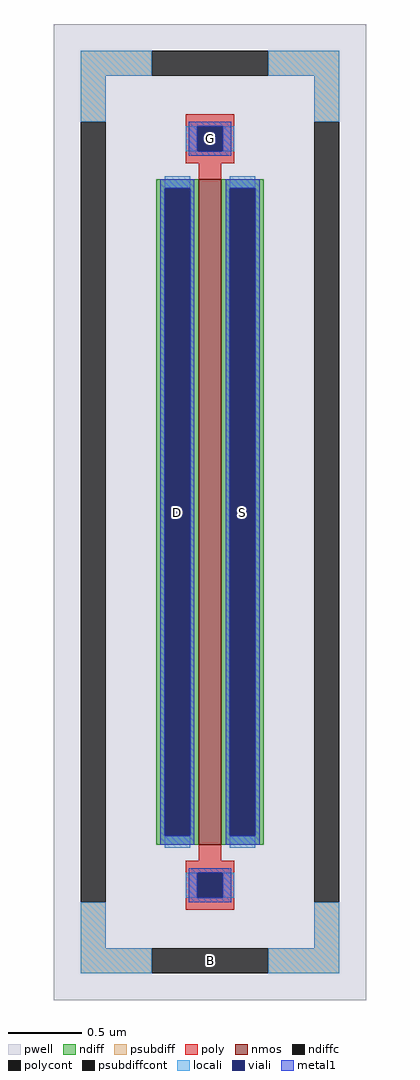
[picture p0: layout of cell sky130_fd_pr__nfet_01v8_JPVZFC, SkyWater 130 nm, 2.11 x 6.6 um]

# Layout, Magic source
magic
tech sky130A
magscale 1 2
<< pwell >>
rect -211 -660 211 660
<< nmos >>
rect -15 -450 15 450
<< ndiff >>
rect -73 438 -15 450
rect -73 -438 -61 438
rect -27 -438 -15 438
rect -73 -450 -15 -438
rect 15 438 73 450
rect 15 -438 27 438
rect 61 -438 73 438
rect 15 -450 73 -438
<< ndiffc >>
rect -61 -438 -27 438
rect 27 -438 61 438
<< psubdiff >>
rect -175 590 -79 624
rect 79 590 175 624
rect -175 528 -141 590
rect 141 528 175 590
rect -175 -590 -141 -528
rect 141 -590 175 -528
rect -175 -624 -79 -590
rect 79 -624 175 -590
<< psubdiffcont >>
rect -79 590 79 624
rect -175 -528 -141 528
rect 141 -528 175 528
rect -79 -624 79 -590
<< poly >>
rect -33 522 33 538
rect -33 488 -17 522
rect 17 488 33 522
rect -33 472 33 488
rect -15 450 15 472
rect -15 -472 15 -450
rect -33 -488 33 -472
rect -33 -522 -17 -488
rect 17 -522 33 -488
rect -33 -538 33 -522
<< polycont >>
rect -17 488 17 522
rect -17 -522 17 -488
<< locali >>
rect -175 590 -79 624
rect 79 590 175 624
rect -175 528 -141 590
rect 141 528 175 590
rect -33 488 -17 522
rect 17 488 33 522
rect -61 438 -27 454
rect -61 -454 -27 -438
rect 27 438 61 454
rect 27 -454 61 -438
rect -33 -522 -17 -488
rect 17 -522 33 -488
rect -175 -590 -141 -528
rect 141 -590 175 -528
rect -175 -624 -79 -590
rect 79 -624 175 -590
<< viali >>
rect -17 488 17 522
rect -61 -438 -27 438
rect 27 -438 61 438
rect -17 -522 17 -488
<< metal1 >>
rect -29 522 29 528
rect -29 488 -17 522
rect 17 488 29 522
rect -29 482 29 488
rect -67 438 -21 450
rect -67 -438 -61 438
rect -27 -438 -21 438
rect -67 -450 -21 -438
rect 21 438 67 450
rect 21 -438 27 438
rect 61 -438 67 438
rect 21 -450 67 -438
rect -29 -488 29 -482
rect -29 -522 -17 -488
rect 17 -522 29 -488
rect -29 -528 29 -522
<< labels >>
rlabel psubdiffcont 0 -607 0 -607 0 B
port 5 nsew
rlabel ndiffc -44 0 -44 0 0 D
port 6 nsew
rlabel ndiffc 44 0 44 0 0 S
port 7 nsew
rlabel polycont 0 505 0 505 0 G
port 8 nsew
<< properties >>
string FIXED_BBOX -158 -607 158 607
string gencell sky130_fd_pr__nfet_01v8
string library sky130
string parameters w 4.5 l 0.15 m 1 nf 1 diffcov 100 polycov 100 guard 1 glc 1 grc 1 gtc 1 gbc 1 tbcov 100 rlcov 100 topc 1 botc 1 poverlap 0 doverlap 1 lmin 0.15 wmin 0.42 class mosfet compatible {sky130_fd_pr__nfet_01v8 sky130_fd_pr__nfet_01v8_lvt  sky130_fd_bs_flash__special_sonosfet_star  sky130_fd_pr__nfet_g5v0d10v5 sky130_fd_pr__nfet_05v0_nvt  sky130_fd_pr__nfet_03v3_nvt} full_metal 1 conn_gates 0 viasrc 100 viadrn 100 viagate 100 viagb 0 viagr 0 viagl 0 viagt 0 doports 1
<< end >>
